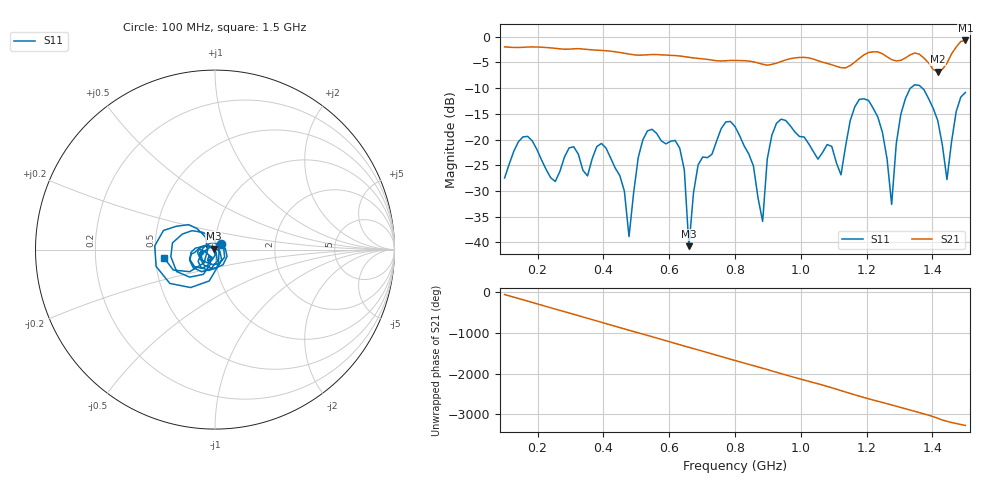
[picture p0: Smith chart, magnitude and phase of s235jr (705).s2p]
! NanoVNA-App
! Date: 2025-09-25 15:09:39
! Start: 100MHz Stop: 1,5GHz Points: 101
! S-Parameter data: F S11 S21 S12 S22
# Hz S RI R 50
!  Frequency  S11_Real  S11_Imag  S21_Real  S21_Imag  S12_Real  S12_Imag  S22_Real  S22_Imag
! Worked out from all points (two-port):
!   101 points, 100 MHz to 1.5 GHz, reference 50 ohm
!   highest |S21| = -0.72 dB at 1.5 GHz (marker M1); lowest = -6.8 dB at 1.416 GHz (marker M2)
!   |S21| within 3 dB of the highest: start of sweep to 628.9 MHz; 1.188 GHz to 1.258 GHz (69.97 MHz wide, 5.72 % of centre) (the widest 2 of 4)
!   lowest |S11| = -40.7 dB at 660 MHz (marker M3), VSWR 1.02, Z = 49.3 + j0.599 ohm
!   |S11| at or under -10 dB: start of sweep to 1.333 GHz; 1.369 GHz to end of sweep
!   S12 and S22 are empty: the file has one direction only
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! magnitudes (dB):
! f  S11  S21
! 100 MHz  -27.5  -2.0
! 170 MHz  -19.4  -2.0
! 338 MHz  -26.0  -2.4
! 408 MHz  -21.6  -2.7
! 478 MHz  -38.9  -3.4
! 520 MHz  -20.0  -3.6
! 576 MHz  -20.2  -3.5
! 632 MHz  -21.7  -3.7
! 660 MHz  -40.7  -4.0
! 688 MHz  -24.9  -4.2
! 800 MHz  -17.5  -4.6
! 884 MHz  -35.9  -5.3
! 926 MHz  -16.8  -5.1
! 1.038 GHz  -22.3  -4.3
! 1.122 GHz  -26.9  -6.0
! 1.206 GHz  -12.4  -3.1
! 1.276 GHz  -32.6  -4.5
! 1.304 GHz  -15.0  -4.6
! 1.332 GHz  -10.1  -3.5
! 1.416 GHz  -16.3  -6.8
! 1.444 GHz  -27.8  -5.1
! 1.5 GHz  -10.8  -0.7
